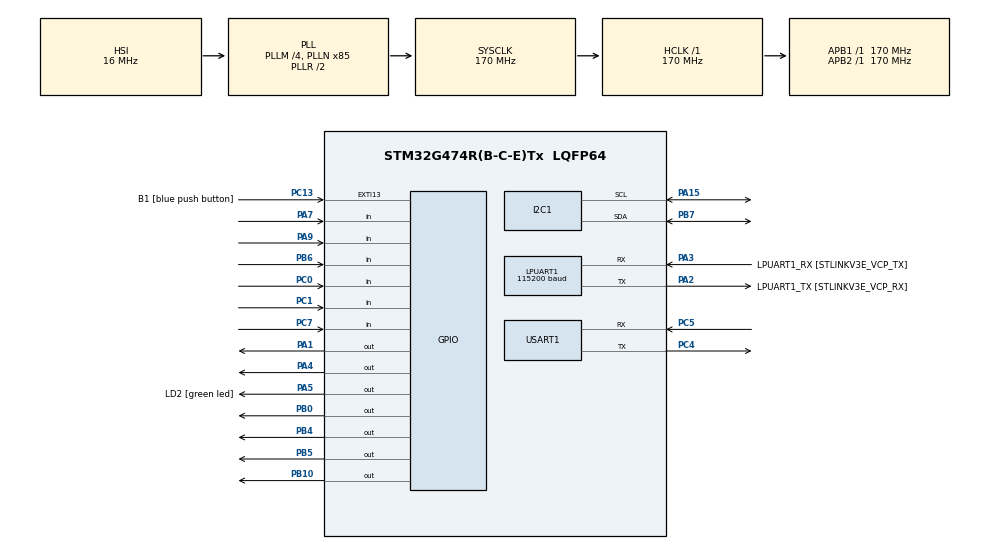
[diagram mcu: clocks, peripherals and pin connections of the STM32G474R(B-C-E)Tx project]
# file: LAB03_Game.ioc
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Dma.I2C1_RX.4.Direction=DMA_PERIPH_TO_MEMORY
Dma.I2C1_RX.4.EventEnable=DISABLE
Dma.I2C1_RX.4.Instance=DMA1_Channel5
Dma.I2C1_RX.4.MemDataAlignment=DMA_MDATAALIGN_BYTE
Dma.I2C1_RX.4.MemInc=DMA_MINC_ENABLE
Dma.I2C1_RX.4.Mode=DMA_NORMAL
Dma.I2C1_RX.4.PeriphDataAlignment=DMA_PDATAALIGN_BYTE
Dma.I2C1_RX.4.PeriphInc=DMA_PINC_DISABLE
Dma.I2C1_RX.4.Polarity=HAL_DMAMUX_REQ_GEN_RISING
Dma.I2C1_RX.4.Priority=DMA_PRIORITY_LOW
Dma.I2C1_RX.4.RequestNumber=1
Dma.I2C1_RX.4.SignalID=NONE
Dma.I2C1_RX.4.SyncEnable=DISABLE
Dma.I2C1_RX.4.SyncPolarity=HAL_DMAMUX_SYNC_NO_EVENT
Dma.I2C1_RX.4.SyncRequestNumber=1
Dma.I2C1_RX.4.SyncSignalID=NONE
Dma.I2C1_TX.5.Direction=DMA_MEMORY_TO_PERIPH
Dma.I2C1_TX.5.EventEnable=DISABLE
Dma.I2C1_TX.5.Instance=DMA1_Channel6
Dma.I2C1_TX.5.MemDataAlignment=DMA_MDATAALIGN_BYTE
Dma.I2C1_TX.5.MemInc=DMA_MINC_ENABLE
Dma.I2C1_TX.5.Mode=DMA_NORMAL
Dma.I2C1_TX.5.PeriphDataAlignment=DMA_PDATAALIGN_BYTE
Dma.I2C1_TX.5.PeriphInc=DMA_PINC_DISABLE
Dma.I2C1_TX.5.Polarity=HAL_DMAMUX_REQ_GEN_RISING
Dma.I2C1_TX.5.Priority=DMA_PRIORITY_LOW
Dma.I2C1_TX.5.RequestNumber=1
Dma.I2C1_TX.5.SignalID=NONE
Dma.I2C1_TX.5.SyncEnable=DISABLE
Dma.I2C1_TX.5.SyncPolarity=HAL_DMAMUX_SYNC_NO_EVENT
Dma.I2C1_TX.5.SyncRequestNumber=1
Dma.I2C1_TX.5.SyncSignalID=NONE
Dma.LPUART1_RX.2.Direction=DMA_PERIPH_TO_MEMORY
Dma.LPUART1_RX.2.EventEnable=DISABLE
Dma.LPUART1_RX.2.Instance=DMA1_Channel3
Dma.LPUART1_RX.2.MemDataAlignment=DMA_MDATAALIGN_BYTE
Dma.LPUART1_RX.2.MemInc=DMA_MINC_ENABLE
Dma.LPUART1_RX.2.Mode=DMA_CIRCULAR
Dma.LPUART1_RX.2.PeriphDataAlignment=DMA_PDATAALIGN_BYTE
Dma.LPUART1_RX.2.PeriphInc=DMA_PINC_DISABLE
Dma.LPUART1_RX.2.Polarity=HAL_DMAMUX_REQ_GEN_RISING
Dma.LPUART1_RX.2.Priority=DMA_PRIORITY_LOW
Dma.LPUART1_RX.2.RequestNumber=1
Dma.LPUART1_RX.2.SignalID=NONE
Dma.LPUART1_RX.2.SyncEnable=DISABLE
Dma.LPUART1_RX.2.SyncPolarity=HAL_DMAMUX_SYNC_NO_EVENT
Dma.LPUART1_RX.2.SyncRequestNumber=1
Dma.LPUART1_RX.2.SyncSignalID=NONE
Dma.LPUART1_TX.3.Direction=DMA_MEMORY_TO_PERIPH
Dma.LPUART1_TX.3.EventEnable=DISABLE
Dma.LPUART1_TX.3.Instance=DMA1_Channel4
Dma.LPUART1_TX.3.MemDataAlignment=DMA_MDATAALIGN_BYTE
Dma.LPUART1_TX.3.MemInc=DMA_MINC_ENABLE
Dma.LPUART1_TX.3.Mode=DMA_NORMAL
Dma.LPUART1_TX.3.PeriphDataAlignment=DMA_PDATAALIGN_BYTE
Dma.LPUART1_TX.3.PeriphInc=DMA_PINC_DISABLE
Dma.LPUART1_TX.3.Polarity=HAL_DMAMUX_REQ_GEN_RISING
Dma.LPUART1_TX.3.Priority=DMA_PRIORITY_LOW
Dma.LPUART1_TX.3.RequestNumber=1
Dma.LPUART1_TX.3.SignalID=NONE
Dma.LPUART1_TX.3.SyncEnable=DISABLE
Dma.LPUART1_TX.3.SyncPolarity=HAL_DMAMUX_SYNC_NO_EVENT
Dma.LPUART1_TX.3.SyncRequestNumber=1
Dma.LPUART1_TX.3.SyncSignalID=NONE
Dma.Request0=USART1_RX
Dma.Request1=USART1_TX
Dma.Request2=LPUART1_RX
Dma.Request3=LPUART1_TX
Dma.Request4=I2C1_RX
Dma.Request5=I2C1_TX
Dma.USART1_RX.0.Direction=DMA_PERIPH_TO_MEMORY
Dma.USART1_RX.0.EventEnable=DISABLE
Dma.USART1_RX.0.Instance=DMA1_Channel1
Dma.USART1_RX.0.MemDataAlignment=DMA_MDATAALIGN_BYTE
Dma.USART1_RX.0.MemInc=DMA_MINC_ENABLE
Dma.USART1_RX.0.Mode=DMA_CIRCULAR
Dma.USART1_RX.0.PeriphDataAlignment=DMA_PDATAALIGN_BYTE
Dma.USART1_RX.0.PeriphInc=DMA_PINC_DISABLE
Dma.USART1_RX.0.Polarity=HAL_DMAMUX_REQ_GEN_RISING
Dma.USART1_RX.0.Priority=DMA_PRIORITY_LOW
Dma.USART1_RX.0.RequestNumber=1
Dma.USART1_RX.0.SignalID=NONE
Dma.USART1_RX.0.SyncEnable=DISABLE
Dma.USART1_RX.0.SyncPolarity=HAL_DMAMUX_SYNC_NO_EVENT
Dma.USART1_RX.0.SyncRequestNumber=1
Dma.USART1_RX.0.SyncSignalID=NONE
Dma.USART1_TX.1.Direction=DMA_MEMORY_TO_PERIPH
Dma.USART1_TX.1.EventEnable=DISABLE
Dma.USART1_TX.1.Instance=DMA1_Channel2
Dma.USART1_TX.1.MemDataAlignment=DMA_MDATAALIGN_BYTE
Dma.USART1_TX.1.MemInc=DMA_MINC_ENABLE
Dma.USART1_TX.1.Mode=DMA_NORMAL
Dma.USART1_TX.1.PeriphDataAlignment=DMA_PDATAALIGN_BYTE
Dma.USART1_TX.1.PeriphInc=DMA_PINC_DISABLE
Dma.USART1_TX.1.Polarity=HAL_DMAMUX_REQ_GEN_RISING
Dma.USART1_TX.1.Priority=DMA_PRIORITY_LOW
Dma.USART1_TX.1.RequestNumber=1
Dma.USART1_TX.1.SignalID=NONE
Dma.USART1_TX.1.SyncEnable=DISABLE
Dma.USART1_TX.1.SyncPolarity=HAL_DMAMUX_SYNC_NO_EVENT
Dma.USART1_TX.1.SyncRequestNumber=1
Dma.USART1_TX.1.SyncSignalID=NONE
I2C1.Timing=0x30A0A7FB
LPUART1.BaudRate=115200
LPUART1.StopBits=UART_STOPBITS_2
LPUART1.WordLength=UART_WORDLENGTH_8B
Mcu.Family=STM32G4
Mcu.Name=STM32G474R(B-C-E)Tx
Mcu.Package=LQFP64
NVIC.DMA1_Channel1_IRQn=true\:0\:0\:false\:false\:true\:false\:true\:true
NVIC.DMA1_Channel2_IRQn=true\:0\:0\:false\:false\:true\:false\:true\:true
NVIC.DMA1_Channel3_IRQn=true\:0\:0\:false\:false\:true\:false\:true\:true
NVIC.DMA1_Channel4_IRQn=true\:0\:0\:false\:false\:true\:false\:true\:true
NVIC.DMA1_Channel5_IRQn=true\:0\:0\:false\:false\:true\:false\:true\:true
NVIC.DMA1_Channel6_IRQn=true\:0\:0\:false\:false\:true\:false\:true\:true
NVIC.EXTI15_10_IRQn=true\:0\:0\:false\:false\:true\:true\:true\:true
NVIC.I2C1_ER_IRQn=true\:0\:0\:false\:false\:true\:true\:true\:true
NVIC.I2C1_EV_IRQn=true\:0\:0\:false\:false\:true\:true\:true\:true
NVIC.LPUART1_IRQn=true\:0\:0\:false\:false\:true\:true\:true\:true
NVIC.PriorityGroup=NVIC_PRIORITYGROUP_4
NVIC.USART1_IRQn=true\:0\:0\:false\:false\:true\:true\:true\:true
PA1.PinState=GPIO_PIN_SET
PA1.Signal=GPIO_Output
PA13.GPIO_Label=T_SWDIO
PA13.Mode=Serial_Wire
PA13.Signal=SYS_JTMS-SWDIO
PA14.GPIO_Label=T_SWCLK
PA14.Mode=Serial_Wire
PA14.Signal=SYS_JTCK-SWCLK
PA15.Mode=I2C
PA15.Signal=I2C1_SCL
PA2.GPIO_Label=LPUART1_TX [STLINKV3E_VCP_RX]
PA2.Mode=Asynchronous
PA2.Signal=LPUART1_TX
PA3.GPIO_Label=LPUART1_RX [STLINKV3E_VCP_TX]
PA3.Mode=Asynchronous
PA3.Signal=LPUART1_RX
PA4.PinState=GPIO_PIN_SET
PA4.Signal=GPIO_Output
PA5.GPIO_Label=LD2 [green led]
PA5.Signal=GPIO_Output
PA7.GPIO_PuPd=GPIO_PULLUP
PA7.Signal=GPIO_Input
PA9.GPIO_PuPd=GPIO_PULLUP
PA9.Signal=GPIO_Input
PB0.PinState=GPIO_PIN_SET
PB0.Signal=GPIO_Output
PB10.GPIO_ModeDefaultOutputPP=GPIO_MODE_OUTPUT_OD
PB10.GPIO_PuPd=GPIO_NOPULL
PB10.PinState=GPIO_PIN_SET
PB10.Signal=GPIO_Output
PB3.GPIO_Label=T_SWO
PB3.Signal=SYS_JTDO-SWO
PB4.GPIO_ModeDefaultOutputPP=GPIO_MODE_OUTPUT_OD
PB4.GPIO_PuPd=GPIO_NOPULL
PB4.PinState=GPIO_PIN_SET
PB4.Signal=GPIO_Output
PB5.GPIO_ModeDefaultOutputPP=GPIO_MODE_OUTPUT_OD
PB5.GPIO_PuPd=GPIO_NOPULL
PB5.PinState=GPIO_PIN_SET
PB5.Signal=GPIO_Output
PB6.GPIO_PuPd=GPIO_PULLUP
PB6.Signal=GPIO_Input
PB7.Mode=I2C
PB7.Signal=I2C1_SDA
PC0.GPIO_PuPd=GPIO_NOPULL
PC0.Signal=GPIO_Input
PC1.GPIO_PuPd=GPIO_NOPULL
PC1.Signal=GPIO_Input
PC13.GPIO_Label=B1 [blue push button]
PC13.Signal=GPXTI13
PC14-OSC32_IN.Mode=LSE-External-Oscillator
PC14-OSC32_IN.Signal=RCC_OSC32_IN
PC15-OSC32_OUT.Mode=LSE-External-Oscillator
PC15-OSC32_OUT.Signal=RCC_OSC32_OUT
PC4.Mode=Asynchronous
PC4.Signal=USART1_TX
PC5.Mode=Asynchronous
PC5.Signal=USART1_RX
PC7.GPIO_PuPd=GPIO_PULLUP
PC7.Signal=GPIO_Input
PF0-OSC_IN.Mode=HSE-External-Oscillator
PF0-OSC_IN.Signal=RCC_OSC_IN
PF1-OSC_OUT.Mode=HSE-External-Oscillator
PF1-OSC_OUT.Signal=RCC_OSC_OUT
ProjectManager.HeapSize=0x200
ProjectManager.StackSize=0x400
ProjectManager.TargetToolchain=STM32CubeIDE
RCC.ADC12Freq_Value=170000000
RCC.ADC345Freq_Value=170000000
RCC.AHBFreq_Value=170000000
RCC.APB1Freq_Value=170000000
RCC.APB1TimFreq_Value=170000000
RCC.APB2Freq_Value=170000000
RCC.APB2TimFreq_Value=170000000
RCC.CortexFreq_Value=170000000
RCC.EXTERNAL_CLOCK_VALUE=12288000
RCC.HCLKFreq_Value=170000000
RCC.HSE_VALUE=24000000
RCC.HSI48_VALUE=48000000
RCC.HSI_VALUE=16000000
RCC.PLLM=RCC_PLLM_DIV4
RCC.PLLN=85
RCC.RTCClockSelection=RCC_RTCCLKSOURCE_LSE
RCC.SYSCLKFreq_VALUE=170000000
RCC.SYSCLKSource=RCC_SYSCLKSOURCE_PLLCLK
RCC.USBFreq_Value=170000000
RCC.VCOOutputFreq_Value=340000000
USART1.StopBits=STOPBITS_2
USART1.VirtualMode-Asynchronous=VM_ASYNC
VP_SYS_VS_DBSignals.Mode=DisableDeadBatterySignals
board=NUCLEO-G474RE

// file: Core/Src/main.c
/* USER CODE BEGIN Header */
/**
  ******************************************************************************
  * @file           : main.c
  * @brief          : Main program body
  ******************************************************************************
  * @attention
  *
  * Copyright (c) 2024 STMicroelectronics.
  * All rights reserved.
  *
  * This software is licensed under terms that can be found in the LICENSE file
  * in the root directory of this software component.
  * If no LICENSE file comes with this software, it is provided AS-IS.
  *
  ******************************************************************************
  */
/* USER CODE END Header */
#include "main.h"

/* USER CODE BEGIN Includes */
#include "stdio.h"
#include "string.h"
/* USER CODE END Includes */

/* USER CODE BEGIN PD */
#define EEPROM_ADDR 0b10100000
/* USER CODE END PD */

I2C_HandleTypeDef hi2c1;
DMA_HandleTypeDef hdma_i2c1_rx;
DMA_HandleTypeDef hdma_i2c1_tx;

UART_HandleTypeDef hlpuart1;
UART_HandleTypeDef huart1;
DMA_HandleTypeDef hdma_lpuart1_rx;
DMA_HandleTypeDef hdma_lpuart1_tx;
DMA_HandleTypeDef hdma_usart1_rx;
DMA_HandleTypeDef hdma_usart1_tx;

/* USER CODE BEGIN PV */
uint8_t data[3] = { 0x00, 0x00, 0x00 };
int n;
uint16_t ButtonState = 0;
int secretNumber; //random_number 0-9
uint16_t Number = 0; //button 0-9
int b = 0; //B1(start)
int mode = 0; // mode check
int state = 0; //state Button matrix
int Button = 0; //ok,clear
int Button_state_ok = 0; //state ok
int Button_state_clr = 0; //state clear
int guessNumber = 0; //input number
int guessCount = 3; //count1-3
int LED[3] = {0,0,0}; //LED
uint8_t RxBuffer[1]; //number
int Trn_state = 0; //state transmit
uint8_t eepromExampleWriteFlag = 0;
uint8_t eepromExampleReadFlag = 0;
uint8_t eepromDataReadBack[3];
struct _ButMtx_Struct
{
	GPIO_TypeDef* Port;
	uint16_t Pin;

};

struct _ButMtx_Struct BMX_L[4] = {
	{GPIOA,GPIO_PIN_9},
	{GPIOC,GPIO_PIN_7},
	{GPIOB,GPIO_PIN_6},
	{GPIOA,GPIO_PIN_7}
};

struct _ButMtx_Struct BMX_R[3] = {
	{GPIOB,GPIO_PIN_5},
	{GPIOB,GPIO_PIN_4},
	{GPIOB,GPIO_PIN_10},
};

/* USER CODE END PV */

void SystemClock_Config(void);
static void MX_GPIO_Init(void);
static void MX_DMA_Init(void);
static void MX_LPUART1_UART_Init(void);
static void MX_USART1_UART_Init(void);
static void MX_I2C1_Init(void);
/* USER CODE BEGIN PFP */
void ButtonMatrixRead();
void RandomNumber();
void CheckNumber();
void CheckGuess();
void UARTDMAConfig();
/* USER CODE END PFP */

int main(void)
{

  /* MCU Configuration--------------------------------------------------------*/

  /* Reset of all peripherals, Initializes the Flash interface and the Systick. */
  HAL_Init();

  /* Configure the system clock */
  SystemClock_Config();

  /* Initialize all configured peripherals */
  MX_GPIO_Init();
  MX_DMA_Init();
  MX_LPUART1_UART_Init();
  MX_USART1_UART_Init();
  MX_I2C1_Init();
  /* USER CODE BEGIN 2 */
  HAL_Delay(300);
  UARTDMAConfig();

//  HAL_Delay(100);
//  EEPROMWriteExample();
  /* USER CODE END 2 */

  /* Infinite loop */
  while (1)
  {

    /* USER CODE BEGIN 3 */
	EEPROMWriteExample();
	EEPROMReadExample(eepromDataReadBack, 3);
	static uint32_t BTMX_TimeStamp = 0;
	if(HAL_GetTick() > BTMX_TimeStamp)
	{
	    BTMX_TimeStamp = HAL_GetTick() + 25; //next scan in 25 ms
	  	ButtonMatrixRead();
	}
	b = HAL_GPIO_ReadPin(GPIOC, GPIO_PIN_13); //start button
	if(b == 1 && mode == 0)
	{
	  	secretNumber = rand()%9; // Generate a random number between 0 and 9
	  	mode = 1;
	  	data[0] = 0xff;
	  	data[1] = 0xff;
	  	data[2] = 0xff;

	}
	if(mode == 1)
	{
	  	CheckNumber();
	  	CheckGuess();

	}
  }

  /* USER CODE END 3 */
}

void SystemClock_Config(void)
{
  RCC_OscInitTypeDef RCC_OscInitStruct = {0};
  RCC_ClkInitTypeDef RCC_ClkInitStruct = {0};

  /** Configure the main internal regulator output voltage
  */
  HAL_PWREx_ControlVoltageScaling(PWR_REGULATOR_VOLTAGE_SCALE1_BOOST);

  /** Initializes the RCC Oscillators according to the specified parameters
  * in the RCC_OscInitTypeDef structure.
  */
  RCC_OscInitStruct.OscillatorType = RCC_OSCILLATORTYPE_HSI;
  RCC_OscInitStruct.HSIState = RCC_HSI_ON;
  RCC_OscInitStruct.HSICalibrationValue = RCC_HSICALIBRATION_DEFAULT;
  RCC_OscInitStruct.PLL.PLLState = RCC_PLL_ON;
  RCC_OscInitStruct.PLL.PLLSource = RCC_PLLSOURCE_HSI;
  RCC_OscInitStruct.PLL.PLLM = RCC_PLLM_DIV4;
  RCC_OscInitStruct.PLL.PLLN = 85;
  RCC_OscInitStruct.PLL.PLLP = RCC_PLLP_DIV2;
  RCC_OscInitStruct.PLL.PLLQ = RCC_PLLQ_DIV2;
  RCC_OscInitStruct.PLL.PLLR = RCC_PLLR_DIV2;
  if (HAL_RCC_OscConfig(&RCC_OscInitStruct) != HAL_OK)
  {
    Error_Handler();
  }

  /** Initializes the CPU, AHB and APB buses clocks
  */
  RCC_ClkInitStruct.ClockType = RCC_CLOCKTYPE_HCLK|RCC_CLOCKTYPE_SYSCLK
                              |RCC_CLOCKTYPE_PCLK1|RCC_CLOCKTYPE_PCLK2;
  RCC_ClkInitStruct.SYSCLKSource = RCC_SYSCLKSOURCE_PLLCLK;
  RCC_ClkInitStruct.AHBCLKDivider = RCC_SYSCLK_DIV1;
  RCC_ClkInitStruct.APB1CLKDivider = RCC_HCLK_DIV1;
  RCC_ClkInitStruct.APB2CLKDivider = RCC_HCLK_DIV1;

  if (HAL_RCC_ClockConfig(&RCC_ClkInitStruct, FLASH_LATENCY_4) != HAL_OK)
  {
    Error_Handler();
  }
}

static void MX_I2C1_Init(void)
{

  hi2c1.Instance = I2C1;
  hi2c1.Init.Timing = 0x30A0A7FB;
  hi2c1.Init.OwnAddress1 = 0;
  hi2c1.Init.AddressingMode = I2C_ADDRESSINGMODE_7BIT;
  hi2c1.Init.DualAddressMode = I2C_DUALADDRESS_DISABLE;
  hi2c1.Init.OwnAddress2 = 0;
  hi2c1.Init.OwnAddress2Masks = I2C_OA2_NOMASK;
  hi2c1.Init.GeneralCallMode = I2C_GENERALCALL_DISABLE;
  hi2c1.Init.NoStretchMode = I2C_NOSTRETCH_DISABLE;
  if (HAL_I2C_Init(&hi2c1) != HAL_OK)
  {
    Error_Handler();
  }

  /** Configure Analogue filter
  */
  if (HAL_I2CEx_ConfigAnalogFilter(&hi2c1, I2C_ANALOGFILTER_ENABLE) != HAL_OK)
  {
    Error_Handler();
  }

  /** Configure Digital filter
  */
  if (HAL_I2CEx_ConfigDigitalFilter(&hi2c1, 0) != HAL_OK)
  {
    Error_Handler();
  }

}

static void MX_LPUART1_UART_Init(void)
{

  hlpuart1.Instance = LPUART1;
  hlpuart1.Init.BaudRate = 115200;
  hlpuart1.Init.WordLength = UART_WORDLENGTH_8B;
  hlpuart1.Init.StopBits = UART_STOPBITS_2;
  hlpuart1.Init.Parity = UART_PARITY_NONE;
  hlpuart1.Init.Mode = UART_MODE_TX_RX;
  hlpuart1.Init.HwFlowCtl = UART_HWCONTROL_NONE;
  hlpuart1.Init.OneBitSampling = UART_ONE_BIT_SAMPLE_DISABLE;
  hlpuart1.Init.ClockPrescaler = UART_PRESCALER_DIV1;
  hlpuart1.AdvancedInit.AdvFeatureInit = UART_ADVFEATURE_NO_INIT;
  if (HAL_UART_Init(&hlpuart1) != HAL_OK)
  {
    Error_Handler();
  }
  if (HAL_UARTEx_SetTxFifoThreshold(&hlpuart1, UART_TXFIFO_THRESHOLD_1_8) != HAL_OK)
  {
    Error_Handler();
  }
  if (HAL_UARTEx_SetRxFifoThreshold(&hlpuart1, UART_RXFIFO_THRESHOLD_1_8) != HAL_OK)
  {
    Error_Handler();
  }
  if (HAL_UARTEx_DisableFifoMode(&hlpuart1) != HAL_OK)
  {
    Error_Handler();
  }

}

static void MX_USART1_UART_Init(void)
{

  huart1.Instance = USART1;
  huart1.Init.BaudRate = 115200;
  huart1.Init.WordLength = UART_WORDLENGTH_8B;
  huart1.Init.StopBits = UART_STOPBITS_2;
  huart1.Init.Parity = UART_PARITY_NONE;
  huart1.Init.Mode = UART_MODE_TX_RX;
  huart1.Init.HwFlowCtl = UART_HWCONTROL_NONE;
  huart1.Init.OverSampling = UART_OVERSAMPLING_16;
  huart1.Init.OneBitSampling = UART_ONE_BIT_SAMPLE_DISABLE;
  huart1.Init.ClockPrescaler = UART_PRESCALER_DIV1;
  huart1.AdvancedInit.AdvFeatureInit = UART_ADVFEATURE_NO_INIT;
  if (HAL_UART_Init(&huart1) != HAL_OK)
  {
    Error_Handler();
  }
  if (HAL_UARTEx_SetTxFifoThreshold(&huart1, UART_TXFIFO_THRESHOLD_1_8) != HAL_OK)
  {
    Error_Handler();
  }
  if (HAL_UARTEx_SetRxFifoThreshold(&huart1, UART_RXFIFO_THRESHOLD_1_8) != HAL_OK)
  {
    Error_Handler();
  }
  if (HAL_UARTEx_DisableFifoMode(&huart1) != HAL_OK)
  {
    Error_Handler();
  }

}

static void MX_DMA_Init(void)
{

  /* DMA controller clock enable */
  __HAL_RCC_DMAMUX1_CLK_ENABLE();
  __HAL_RCC_DMA1_CLK_ENABLE();

  /* DMA interrupt init */
  /* DMA1_Channel1_IRQn interrupt configuration */
  HAL_NVIC_SetPriority(DMA1_Channel1_IRQn, 0, 0);
  HAL_NVIC_EnableIRQ(DMA1_Channel1_IRQn);
  /* DMA1_Channel2_IRQn interrupt configuration */
  HAL_NVIC_SetPriority(DMA1_Channel2_IRQn, 0, 0);
  HAL_NVIC_EnableIRQ(DMA1_Channel2_IRQn);
  /* DMA1_Channel3_IRQn interrupt configuration */
  HAL_NVIC_SetPriority(DMA1_Channel3_IRQn, 0, 0);
  HAL_NVIC_EnableIRQ(DMA1_Channel3_IRQn);
  /* DMA1_Channel4_IRQn interrupt configuration */
  HAL_NVIC_SetPriority(DMA1_Channel4_IRQn, 0, 0);
  HAL_NVIC_EnableIRQ(DMA1_Channel4_IRQn);
  /* DMA1_Channel5_IRQn interrupt configuration */
  HAL_NVIC_SetPriority(DMA1_Channel5_IRQn, 0, 0);
  HAL_NVIC_EnableIRQ(DMA1_Channel5_IRQn);
  /* DMA1_Channel6_IRQn interrupt configuration */
  HAL_NVIC_SetPriority(DMA1_Channel6_IRQn, 0, 0);
  HAL_NVIC_EnableIRQ(DMA1_Channel6_IRQn);

}

static void MX_GPIO_Init(void)
{
  GPIO_InitTypeDef GPIO_InitStruct = {0};

  /* GPIO Ports Clock Enable */
  __HAL_RCC_GPIOC_CLK_ENABLE();
  __HAL_RCC_GPIOF_CLK_ENABLE();
  __HAL_RCC_GPIOA_CLK_ENABLE();
  __HAL_RCC_GPIOB_CLK_ENABLE();

  /*Configure GPIO pin Output Level */
  HAL_GPIO_WritePin(GPIOA, GPIO_PIN_1|GPIO_PIN_4, GPIO_PIN_SET);

  /*Configure GPIO pin Output Level */
  HAL_GPIO_WritePin(LD2_GPIO_Port, LD2_Pin, GPIO_PIN_RESET);

  /*Configure GPIO pin Output Level */
  HAL_GPIO_WritePin(GPIOB, GPIO_PIN_0|GPIO_PIN_10|GPIO_PIN_4|GPIO_PIN_5, GPIO_PIN_SET);

  /*Configure GPIO pin : B1_Pin */
  GPIO_InitStruct.Pin = B1_Pin;
  GPIO_InitStruct.Mode = GPIO_MODE_IT_RISING;
  GPIO_InitStruct.Pull = GPIO_NOPULL;
  HAL_GPIO_Init(B1_GPIO_Port, &GPIO_InitStruct);

  /*Configure GPIO pins : PC0 PC1 */
  GPIO_InitStruct.Pin = GPIO_PIN_0|GPIO_PIN_1;
  GPIO_InitStruct.Mode = GPIO_MODE_INPUT;
  GPIO_InitStruct.Pull = GPIO_NOPULL;
  HAL_GPIO_Init(GPIOC, &GPIO_InitStruct);

  /*Configure GPIO pins : PA1 PA4 LD2_Pin */
  GPIO_InitStruct.Pin = GPIO_PIN_1|GPIO_PIN_4|LD2_Pin;
  GPIO_InitStruct.Mode = GPIO_MODE_OUTPUT_PP;
  GPIO_InitStruct.Pull = GPIO_NOPULL;
  GPIO_InitStruct.Speed = GPIO_SPEED_FREQ_LOW;
  HAL_GPIO_Init(GPIOA, &GPIO_InitStruct);

  /*Configure GPIO pins : PA7 PA9 */
  GPIO_InitStruct.Pin = GPIO_PIN_7|GPIO_PIN_9;
  GPIO_InitStruct.Mode = GPIO_MODE_INPUT;
  GPIO_InitStruct.Pull = GPIO_PULLUP;
  HAL_GPIO_Init(GPIOA, &GPIO_InitStruct);

  /*Configure GPIO pin : PB0 */
  GPIO_InitStruct.Pin = GPIO_PIN_0;
  GPIO_InitStruct.Mode = GPIO_MODE_OUTPUT_PP;
  GPIO_InitStruct.Pull = GPIO_NOPULL;
  GPIO_InitStruct.Speed = GPIO_SPEED_FREQ_LOW;
  HAL_GPIO_Init(GPIOB, &GPIO_InitStruct);

  /*Configure GPIO pins : PB10 PB4 PB5 */
  GPIO_InitStruct.Pin = GPIO_PIN_10|GPIO_PIN_4|GPIO_PIN_5;
  GPIO_InitStruct.Mode = GPIO_MODE_OUTPUT_OD;
  GPIO_InitStruct.Pull = GPIO_NOPULL;
  GPIO_InitStruct.Speed = GPIO_SPEED_FREQ_LOW;
  HAL_GPIO_Init(GPIOB, &GPIO_InitStruct);

  /*Configure GPIO pin : PC7 */
  GPIO_InitStruct.Pin = GPIO_PIN_7;
  GPIO_InitStruct.Mode = GPIO_MODE_INPUT;
  GPIO_InitStruct.Pull = GPIO_PULLUP;
  HAL_GPIO_Init(GPIOC, &GPIO_InitStruct);

  /*Configure GPIO pin : PB6 */
  GPIO_InitStruct.Pin = GPIO_PIN_6;
  GPIO_InitStruct.Mode = GPIO_MODE_INPUT;
  GPIO_InitStruct.Pull = GPIO_PULLUP;
  HAL_GPIO_Init(GPIOB, &GPIO_InitStruct);

  /* EXTI interrupt init*/
  HAL_NVIC_SetPriority(EXTI15_10_IRQn, 0, 0);
  HAL_NVIC_EnableIRQ(EXTI15_10_IRQn);

}

/* USER CODE BEGIN 4 */
void ButtonMatrixRead(){
	static uint8_t X=0;
	for(int i=0; i<4; i++)
	{
	if(HAL_GPIO_ReadPin(BMX_L[i].Port, BMX_L[i].Pin) == GPIO_PIN_RESET)
	{
		ButtonState |= 1 << (i + (X * 4));
	}
	else
	{
		ButtonState &= ~(1 << (i + (X * 4)));
	}
	}
	//set currentL to Hi-z (open drain)
	HAL_GPIO_WritePin(BMX_R[X].Port, BMX_R[X].Pin, GPIO_PIN_SET);
	//set nextL to low
	uint8_t nextX = (X + 1) %3;
	HAL_GPIO_WritePin(BMX_R[nextX].Port, BMX_R[nextX].Pin, GPIO_PIN_RESET);
	X = nextX;
}
void RandomNumber(){
	rand(HAL_GetTick());
	secretNumber = rand()%9;
}
void CheckNumber(){
	if(ButtonState == 8)
		{
			Number = 0;
			state = 1;
		}
		else if(ButtonState == 4)
		{
			Number = 1;
			state = 1;

		}
		else if(ButtonState == 64)
		{
			Number = 2;
			state = 1;

		}
		else if(ButtonState == 1024)
		{
			Number = 3;
			state = 1;

		}
		else if(ButtonState == 2)
	    {
			Number = 4;
			state = 1;

		}
		else if(ButtonState == 32)
		{
			Number = 5;
			state = 1;

		}
		else if(ButtonState == 512)
		{
			Number = 6;
			state = 1;

		}
		else if(ButtonState == 1)
		{
			Number = 7;
			state = 1;

		}
		else if(ButtonState == 16)
		{
			Number = 8;
			state = 1;

		}
		else if(ButtonState == 256)
		{
			Number = 9;
			state = 1;

		}
	if(state == 1)
	{
		if(ButtonState == 0)
			{
				guessNumber = Number;
				state = 0;
			}
	}
}
void CheckGuess(){
	if(guessCount == 3){
		  n = 0;
		  HAL_GPIO_WritePin(GPIOA, GPIO_PIN_1, LED[guessCount-3]);
		  HAL_GPIO_WritePin(GPIOA, GPIO_PIN_4, LED[guessCount-2]);
		  HAL_GPIO_WritePin(GPIOB, GPIO_PIN_0, LED[guessCount-1]);
	}
	if(RxBuffer[0] == 'r'){
		guessCount = 3;
		LED[0] = 0;
		LED[1] = 0;
		LED[2] = 0;
		RxBuffer[0] = 0;
		HAL_UART_Transmit(&hlpuart1, "Reset!\n\r", strlen("Reset!\n\r"),5);
		RandomNumber();
		guessNumber = 0;
		guessCount = 3;
//		eepromExampleReadFlag = 1;

	}
//	if(guessCount > -1 && guessCount < 3){
//		LED[guessCount+1] = 1;
//		HAL_GPIO_WritePin(GPIOA, GPIO_PIN_1, LED[guessCount+1]);
//	}

	if(ButtonState == 128){
		Button_state_ok = 1;
		Trn_state = 0;

	}
	if(Button_state_ok == 1 && ButtonState == 0){

		if(secretNumber==guessNumber){
			HAL_UART_Transmit(&hlpuart1, "Correct!\n\r", strlen("Correct!\n\r"),5);

			RandomNumber();
			Button_state_ok = 0;
			guessNumber = 0;

		}else if(secretNumber!=guessNumber){

			if(Trn_state == 0){
				if(secretNumber > guessNumber)
				{
					Trn_state = 1;
					guessCount--;
					Button_state_ok = 0;
					guessNumber = 0;
					data[guessCount] = 0x00;
					LED[guessCount] = 1;
					HAL_UART_Transmit(&hlpuart1, "Too high!\n\r", strlen("Too high!\n\r"),5);
				}
				if(secretNumber < guessNumber)
				{
					Trn_state = 1;
					guessCount--;
					Button_state_ok = 0;
					guessNumber = 0;
					data[guessCount] = 0x00;
					LED[guessCount] = 1;
					HAL_UART_Transmit(&hlpuart1, "Too low!\n\r", strlen("Too low!\n\r"),5);
				}

			}
//			guessCount--;
//			Button_state_ok = 0;
//			guessNumber = 0;
//			LED[guessCount] = 1;
			if(guessCount == 2 && data[2] == 0){
				HAL_GPIO_WritePin(GPIOA, GPIO_PIN_1, LED[guessCount]);

				eepromExampleWriteFlag = 1;
				HAL_Delay(500);

			}
			if(guessCount == 1 && data[1] == 0){
				HAL_GPIO_WritePin(GPIOA, GPIO_PIN_4, LED[guessCount]);

				eepromExampleWriteFlag = 1;
				HAL_Delay(500);
//				data[guessCount] = 0x00;

//				eepromExampleWriteFlag = 1;
//				HAL_Delay(500);
			}
			if(guessCount == 0 && data[0,3] == 0)
			{
				HAL_GPIO_WritePin(GPIOB, GPIO_PIN_0, LED[guessCount]);

//				data[guessCount] = 0x00;
				eepromExampleWriteFlag = 1;
				HAL_Delay(500);

//				guessCount = 3;

//				eepromExampleWriteFlag = 1;
//				HAL_Delay(500);
//				LED[0] = 0;
//				LED[1] = 0;
//				LED[2] = 0;
			}

	if(ButtonState == 2048){
			Button = 1; //clear
			Button_state_clr = 0;
		}
	}
}
	}
void UARTDMAConfig()
{
	//start UART in DMA Mode
	HAL_UART_Receive_DMA(&hlpuart1, RxBuffer, 1);
}
void EEPROMWriteExample()
{
	if (eepromExampleWriteFlag && hi2c1.State == HAL_I2C_STATE_READY) {
		//static uint8_t data[4] = { 0xff, 0x00, 0x55, 0xaa };
		HAL_I2C_Mem_Write_IT(&hi2c1, EEPROM_ADDR, 0x2C, I2C_MEMADD_SIZE_16BIT,data, 3);
		eepromExampleWriteFlag = 0;
	}
}
void EEPROMReadExample(uint8_t *Rdata, uint16_t len)
{
	if (eepromExampleReadFlag && hi2c1.State == HAL_I2C_STATE_READY) {
		HAL_I2C_Mem_Read_IT(&hi2c1, EEPROM_ADDR, 0x2c, I2C_MEMADD_SIZE_16BIT,Rdata, len);
		eepromExampleReadFlag = 0;
	}
}
/* USER CODE END 4 */

void Error_Handler(void)
{
  __disable_irq();
  while (1)
  {
  }
}
